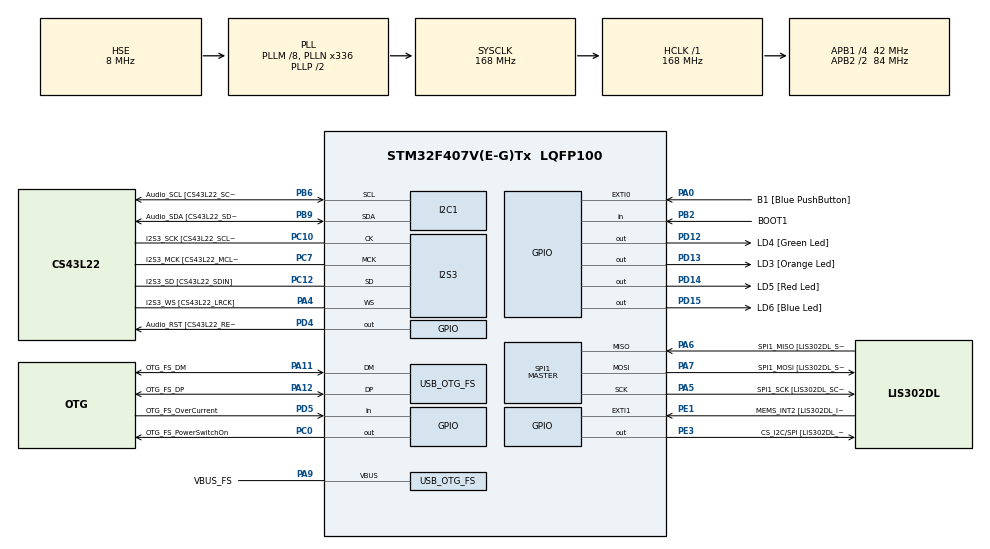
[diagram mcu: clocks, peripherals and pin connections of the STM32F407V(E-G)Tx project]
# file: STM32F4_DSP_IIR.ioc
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Dma.Request0=SPI3_TX
Dma.SPI3_TX.0.Direction=DMA_MEMORY_TO_PERIPH
Dma.SPI3_TX.0.FIFOMode=DMA_FIFOMODE_DISABLE
Dma.SPI3_TX.0.Instance=DMA1_Stream5
Dma.SPI3_TX.0.MemDataAlignment=DMA_MDATAALIGN_HALFWORD
Dma.SPI3_TX.0.MemInc=DMA_MINC_ENABLE
Dma.SPI3_TX.0.Mode=DMA_NORMAL
Dma.SPI3_TX.0.PeriphDataAlignment=DMA_PDATAALIGN_HALFWORD
Dma.SPI3_TX.0.PeriphInc=DMA_PINC_DISABLE
Dma.SPI3_TX.0.Priority=DMA_PRIORITY_HIGH
I2S3.AudioFreq-Half_Duplex_Master=I2S_AUDIOFREQ_96K
I2S3.ErrorAudioFreq=-2.34 %
I2S3.ErrorAudioFreq-Half_Duplex_Master=0.8 %
I2S3.FullDuplexMode=I2S_FULLDUPLEXMODE_DISABLE
I2S3.Instance=SPI$Index
I2S3.RealAudioFreq=93.75 KHz
I2S3.RealAudioFreq-Half_Duplex_Master=96.774 KHz
I2S3.VirtualMode=I2S_MODE_MASTER
Mcu.Family=STM32F4
Mcu.Name=STM32F407V(E-G)Tx
Mcu.Package=LQFP100
NVIC.DMA1_Stream5_IRQn=true\:0\:0\:false\:false\:true\:false\:true\:true
NVIC.OTG_FS_IRQn=true\:0\:0\:false\:false\:true\:true\:true\:true
NVIC.PriorityGroup=NVIC_PRIORITYGROUP_0
PA0-WKUP.GPIO_Label=B1 [Blue PushButton]
PA0-WKUP.GPIO_ModeDefaultEXTI=GPIO_MODE_EVT_RISING
PA0-WKUP.GPIO_PuPd=GPIO_NOPULL
PA0-WKUP.Signal=GPXTI0
PA10.GPIO_Label=OTG_FS_ID
PA10.GPIO_Mode=GPIO_MODE_AF_PP
PA10.GPIO_PuPd=GPIO_NOPULL
PA10.GPIO_Speed=GPIO_SPEED_FREQ_LOW
PA10.Signal=USB_OTG_FS_ID
PA11.GPIO_Label=OTG_FS_DM
PA11.GPIO_Mode=GPIO_MODE_AF_PP
PA11.GPIO_PuPd=GPIO_NOPULL
PA11.GPIO_Speed=GPIO_SPEED_FREQ_LOW
PA11.Mode=Host_Only
PA11.Signal=USB_OTG_FS_DM
PA12.GPIO_Label=OTG_FS_DP
PA12.GPIO_Mode=GPIO_MODE_AF_PP
PA12.GPIO_PuPd=GPIO_NOPULL
PA12.GPIO_Speed=GPIO_SPEED_FREQ_LOW
PA12.Mode=Host_Only
PA12.Signal=USB_OTG_FS_DP
PA13.GPIO_Label=SWDIO
PA13.Mode=Serial_Wire
PA13.Signal=SYS_JTMS-SWDIO
PA14.GPIO_Label=SWCLK
PA14.Mode=Serial_Wire
PA14.Signal=SYS_JTCK-SWCLK
PA4.GPIO_Label=I2S3_WS [CS43L22_LRCK]
PA4.GPIO_Mode=GPIO_MODE_AF_PP
PA4.GPIO_PuPd=GPIO_NOPULL
PA4.GPIO_Speed=GPIO_SPEED_FREQ_LOW
PA4.Mode=Half_Duplex_Master
PA4.Signal=I2S3_WS
PA5.GPIO_Label=SPI1_SCK [LIS302DL_SCL/SPC]
PA5.GPIO_Mode=GPIO_MODE_AF_PP
PA5.GPIO_PuPd=GPIO_NOPULL
PA5.GPIO_Speed=GPIO_SPEED_FREQ_LOW
PA5.Mode=Full_Duplex_Master
PA5.Signal=SPI1_SCK
PA6.GPIO_Label=SPI1_MISO [LIS302DL_SDO]
PA6.GPIO_Mode=GPIO_MODE_AF_PP
PA6.GPIO_PuPd=GPIO_NOPULL
PA6.GPIO_Speed=GPIO_SPEED_FREQ_LOW
PA6.Mode=Full_Duplex_Master
PA6.Signal=SPI1_MISO
PA7.GPIO_Label=SPI1_MOSI [LIS302DL_SDA/SDI/SDO]
PA7.GPIO_Mode=GPIO_MODE_AF_PP
PA7.GPIO_PuPd=GPIO_NOPULL
PA7.GPIO_Speed=GPIO_SPEED_FREQ_LOW
PA7.Mode=Full_Duplex_Master
PA7.Signal=SPI1_MOSI
PA9.GPIO_Label=VBUS_FS
PA9.GPIO_Mode=GPIO_MODE_INPUT
PA9.GPIO_PuPd=GPIO_NOPULL
PA9.Mode=Activate_VBUS
PA9.Signal=USB_OTG_FS_VBUS
PB10.GPIO_Label=CLK_IN [MP45DT02_CLK]
PB10.GPIO_Mode=GPIO_MODE_AF_PP
PB10.GPIO_PuPd=GPIO_NOPULL
PB10.GPIO_Speed=GPIO_SPEED_FREQ_LOW
PB10.Signal=I2S2_CK
PB2.GPIO_Label=BOOT1
PB2.GPIO_Mode=GPIO_MODE_INPUT
PB2.GPIO_PuPd=GPIO_NOPULL
PB2.Signal=GPIO_Input
PB3.GPIO_Label=SWO
PB3.Signal=SYS_JTDO-SWO
PB6.GPIO_Label=Audio_SCL [CS43L22_SCL]
PB6.GPIO_Mode=GPIO_MODE_AF_OD
PB6.GPIO_Pu=GPIO_PULLUP
PB6.GPIO_PuPd=GPIO_NOPULL
PB6.GPIO_Speed=GPIO_SPEED_FREQ_LOW
PB6.Mode=I2C
PB6.Signal=I2C1_SCL
PB9.GPIO_Label=Audio_SDA [CS43L22_SDA]
PB9.GPIO_Mode=GPIO_MODE_AF_OD
PB9.GPIO_Pu=GPIO_PULLUP
PB9.GPIO_PuPd=GPIO_NOPULL
PB9.GPIO_Speed=GPIO_SPEED_FREQ_LOW
PB9.Mode=I2C
PB9.Signal=I2C1_SDA
PC0.GPIO_Label=OTG_FS_PowerSwitchOn
PC0.GPIO_PuPd=GPIO_NOPULL
PC0.GPIO_Speed=GPIO_SPEED_FREQ_LOW
PC0.PinState=GPIO_PIN_SET
PC0.Signal=GPIO_Output
PC10.GPIO_Label=I2S3_SCK [CS43L22_SCLK]
PC10.GPIO_Mode=GPIO_MODE_AF_PP
PC10.GPIO_PuPd=GPIO_NOPULL
PC10.GPIO_Speed=GPIO_SPEED_FREQ_LOW
PC10.Mode=Half_Duplex_Master
PC10.Signal=I2S3_CK
PC12.GPIO_Label=I2S3_SD [CS43L22_SDIN]
PC12.GPIO_Mode=GPIO_MODE_AF_PP
PC12.GPIO_PuPd=GPIO_NOPULL
PC12.GPIO_Speed=GPIO_SPEED_FREQ_LOW
PC12.Mode=Half_Duplex_Master
PC12.Signal=I2S3_SD
PC14-OSC32_IN.GPIO_Label=PC14-OSC32_IN
PC14-OSC32_IN.Mode=LSE-External-Oscillator
PC14-OSC32_IN.Signal=RCC_OSC32_IN
PC15-OSC32_OUT.GPIO_Label=PC15-OSC32_OUT
PC15-OSC32_OUT.Mode=LSE-External-Oscillator
PC15-OSC32_OUT.Signal=RCC_OSC32_OUT
PC3.GPIO_Label=PDM_OUT [MP45DT02_DOUT]
PC3.GPIO_Mode=GPIO_MODE_AF_PP
PC3.GPIO_PuPd=GPIO_NOPULL
PC3.GPIO_Speed=GPIO_SPEED_FREQ_LOW
PC3.Signal=I2S2_SD
PC7.GPIO_Label=I2S3_MCK [CS43L22_MCLK]
PC7.GPIO_Mode=GPIO_MODE_AF_PP
PC7.GPIO_PuPd=GPIO_NOPULL
PC7.GPIO_Speed=GPIO_SPEED_FREQ_LOW
PC7.Mode=Master_Clock_Activated
PC7.Signal=I2S3_MCK
PD12.GPIO_Label=LD4 [Green Led]
PD12.GPIO_PuPd=GPIO_NOPULL
PD12.GPIO_Speed=GPIO_SPEED_FREQ_LOW
PD12.Signal=GPIO_Output
PD13.GPIO_Label=LD3 [Orange Led]
PD13.GPIO_PuPd=GPIO_NOPULL
PD13.GPIO_Speed=GPIO_SPEED_FREQ_LOW
PD13.Signal=GPIO_Output
PD14.GPIO_Label=LD5 [Red Led]
PD14.GPIO_PuPd=GPIO_NOPULL
PD14.GPIO_Speed=GPIO_SPEED_FREQ_LOW
PD14.Signal=GPIO_Output
PD15.GPIO_Label=LD6 [Blue Led]
PD15.GPIO_PuPd=GPIO_NOPULL
PD15.GPIO_Speed=GPIO_SPEED_FREQ_LOW
PD15.Signal=GPIO_Output
PD4.GPIO_Label=Audio_RST [CS43L22_RESET]
PD4.GPIO_PuPd=GPIO_NOPULL
PD4.GPIO_Speed=GPIO_SPEED_FREQ_LOW
PD4.Signal=GPIO_Output
PD5.GPIO_Label=OTG_FS_OverCurrent
PD5.GPIO_Mode=GPIO_MODE_INPUT
PD5.GPIO_PuPd=GPIO_NOPULL
PD5.Signal=GPIO_Input
PE1.GPIO_Label=MEMS_INT2 [LIS302DL_INT2]
PE1.GPIO_ModeDefaultEXTI=GPIO_MODE_EVT_RISING
PE1.GPIO_PuPd=GPIO_NOPULL
PE1.Signal=GPXTI1
PE3.GPIO_Label=CS_I2C/SPI [LIS302DL_CS_I2C/SPI]
PE3.GPIO_PuPd=GPIO_NOPULL
PE3.GPIO_Speed=GPIO_SPEED_FREQ_LOW
PE3.Signal=GPIO_Output
PH0-OSC_IN.GPIO_Label=PH0-OSC_IN
PH0-OSC_IN.Mode=HSE-External-Oscillator
PH0-OSC_IN.Signal=RCC_OSC_IN
PH1-OSC_OUT.GPIO_Label=PH1-OSC_OUT
PH1-OSC_OUT.Mode=HSE-External-Oscillator
PH1-OSC_OUT.Signal=RCC_OSC_OUT
ProjectManager.HeapSize=0x200
ProjectManager.StackSize=0x400
ProjectManager.TargetToolchain=STM32CubeIDE
RCC.48MHZClocksFreq_Value=48000000
RCC.AHBFreq_Value=168000000
RCC.APB1CLKDivider=RCC_HCLK_DIV4
RCC.APB1Freq_Value=42000000
RCC.APB1TimFreq_Value=84000000
RCC.APB2CLKDivider=RCC_HCLK_DIV2
RCC.APB2Freq_Value=84000000
RCC.APB2TimFreq_Value=168000000
RCC.CortexFreq_Value=168000000
RCC.HCLKFreq_Value=168000000
RCC.HSE_VALUE=8000000
RCC.HSI_VALUE=16000000
RCC.PLLM=8
RCC.PLLN=336
RCC.PLLQ=7
RCC.SYSCLKFreq_VALUE=168000000
RCC.SYSCLKSource=RCC_SYSCLKSOURCE_PLLCLK
RCC.VCOOutputFreq_Value=336000000
SPI1.BaudRatePrescaler-Full_Duplex_Master=SPI_BAUDRATEPRESCALER_2
SPI1.CalculateBaudRate-Full_Duplex_Master=42.0 MBits/s
SPI1.Direction=SPI_DIRECTION_2LINES
SPI1.Mode=SPI_MODE_MASTER
SPI1.Mode-Full_Duplex_Master=SPI_MODE_MASTER
SPI1.VirtualType=VM_MASTER
USB_HOST.BSP.number=1
USB_HOST.USBH_HandleTypeDef-CDC_FS=hUsbHostFS
USB_HOST.VirtualModeFS=Cdc
USB_HOST0.BSP.STBoard=false
USB_HOST0.BSP.api=Unknown
USB_HOST0.BSP.instance=PC0
USB_HOST0.BSP.ip=GPIO
USB_HOST0.BSP.mode=Output
USB_HOST0.BSP.name=Drive_VBUS_FS
USB_HOST0.BSP.solution=PC0
USB_OTG_FS.VirtualMode=Host_Only
USB_OTG_FS.phy_itface=HCD_PHY_EMBEDDED
VP_USB_HOST_VS_USB_HOST_CDC_FS.Mode=CDC_FS
board=STM32F407G-DISC1

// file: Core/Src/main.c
/* USER CODE BEGIN Header */
/**
  ******************************************************************************
  * @file           : main.c
  * @brief          : Main program body
  ******************************************************************************
  * @attention
  *
  * Copyright (c) 2025 STMicroelectronics.
  * All rights reserved.
  *
  * This software is licensed under terms that can be found in the LICENSE file
  * in the root directory of this software component.
  * If no LICENSE file comes with this software, it is provided AS-IS.
  *
  ******************************************************************************
  */
/* USER CODE END Header */
#include "main.h"
#include "usb_host.h"

/* USER CODE BEGIN Includes */
#include "arm_math.h"
#include "stm32f4_discovery_audio.h"

/* USER CODE END Includes */

/* USER CODE BEGIN PTD */
#define SAMPLING_FREQ 8000.0	//BSP_audio_out sampling frequency

#define TEST_LENGTH_SAMPLES	256
#define BLOCKSIZE 	32
#define NUMBLOCKS  	(TEST_LENGTH_SAMPLES/BLOCKSIZE)

#define NUM_SECTIONS	2		//Filtro kaskadu skaicius

/* USER CODE END PTD */

I2C_HandleTypeDef hi2c1;

I2S_HandleTypeDef hi2s3;
DMA_HandleTypeDef hdma_spi3_tx;

SPI_HandleTypeDef hspi1;

/* USER CODE BEGIN PV */
static int16_t OutputBuffer[TEST_LENGTH_SAMPLES*2];	//Output, left+right channels
//static int16_t random_temp;

	//IIR related PV
static float32_t testInput_f32[TEST_LENGTH_SAMPLES];	//IIR input signal buffer
static float32_t testOutput_f32[TEST_LENGTH_SAMPLES];	//IIR output signal buffer
float32_t *inputF32 = &testInput_f32[0];
float32_t *outputF32 = &testOutput_f32[0];

float32_t coeffs[5*NUM_SECTIONS] = {0};
float32_t state[4*NUM_SECTIONS] = {0};

	//IIR filter coeffs - from MATLAB
float b[NUM_SECTIONS][3] = {
{1.27854304E-01, 2.55708609E-01, 1.27854304E-01},
{3.04659786E-02, 6.09319571E-02, 3.04659786E-02} };

float a[NUM_SECTIONS][3] = {
{1.00000000E+00, -1.34913555E+00, 8.60552772E-01},
{1.00000000E+00, -1.54190232E+00, 6.63766234E-01} };

/* USER CODE END PV */

void SystemClock_Config(void);
static void MX_GPIO_Init(void);
static void MX_DMA_Init(void);
static void MX_I2C1_Init(void);
static void MX_I2S3_Init(void);
static void MX_SPI1_Init(void);
void MX_USB_HOST_Process(void);

/* USER CODE BEGIN 0 */

	//White noise generator for noise testing
	int32_t rand_int(void)
	{
		static int32_t a = 100001;
		a = (a*125) % 2796203;
		return a;
	}

/* USER CODE END 0 */

int main(void)
{

  /* USER CODE BEGIN 1 */
	//--- IIR structure ---
		arm_biquad_casd_df1_inst_f32 S;

		//--- write IIR coeffs to the CMSIS compatible array
		uint16_t i,k=0;
		for (i=0; i<NUM_SECTIONS ; i++)
		{
			coeffs[k++] = b[i][0];
			coeffs[k++] = b[i][1];
			coeffs[k++] = b[i][2];
			coeffs[k++] = -a[i][1];
			coeffs[k++] = -a[i][2];
		}

  /* USER CODE END 1 */

  /* MCU Configuration--------------------------------------------------------*/

  /* Reset of all peripherals, Initializes the Flash interface and the Systick. */
  HAL_Init();

  /* Configure the system clock */
  SystemClock_Config();

  /* Initialize all configured peripherals */
  MX_GPIO_Init();
  MX_DMA_Init();
  MX_I2C1_Init();
  MX_I2S3_Init();
  MX_SPI1_Init();
  MX_USB_HOST_Init();
  /* USER CODE BEGIN 2 */

  	  	//--- Call IIR init function
    	arm_biquad_cascade_df1_init_f32(&S, NUM_SECTIONS, &(coeffs[0]), &(state[0]));

    	/*** Initialize the Audio codec (I2S, I2C, IOExpander, IOs...) ***/
    	if(BSP_AUDIO_OUT_Init(OUTPUT_DEVICE_AUTO, 80, SAMPLING_FREQ) != AUDIO_OK)
    	{
    	   	Error_Handler();
    	}

    	/*** Test Signal generation ***/
    	for(int index = 0; index < TEST_LENGTH_SAMPLES; index++)
    	{
    	   	//Test signal 1000 Hz + 3000 Hz
    	   	testInput_f32[index] = ( 30000*sin(32*2*PI*index/TEST_LENGTH_SAMPLES) + 15000*sin(96*2*PI*index/TEST_LENGTH_SAMPLES));
    	}

    	/*** Perform IIR filtering operation ***/
    	for (k=0; k < NUMBLOCKS; k++)
    	{
    		arm_biquad_cascade_df1_f32 (&S, inputF32 + (k*BLOCKSIZE), outputF32 + (k*BLOCKSIZE), BLOCKSIZE);
    	}

    	/*** Fill Output Buffer ***/
    	for(int i = 0; i < TEST_LENGTH_SAMPLES; i++)
    	{
    		OutputBuffer[i<<1] = (int16_t)testInput_f32[i];
    	    OutputBuffer[(i<<1)+1] = (int16_t)testOutput_f32[i];
    	}

    	/*** Start Audio play ***/
    	BSP_AUDIO_OUT_Play((uint16_t*)&OutputBuffer[0], TEST_LENGTH_SAMPLES*2);

  /* USER CODE END 2 */

  /* Infinite loop */
  /* USER CODE BEGIN WHILE */
  while (1)
  {
	  HAL_GPIO_TogglePin(LD4_GPIO_Port, LD4_Pin);
 	  HAL_Delay(250);

    /* USER CODE END WHILE */
    MX_USB_HOST_Process();

  }
}

void SystemClock_Config(void)
{
  RCC_OscInitTypeDef RCC_OscInitStruct = {0};
  RCC_ClkInitTypeDef RCC_ClkInitStruct = {0};

  /** Configure the main internal regulator output voltage
  */
  __HAL_RCC_PWR_CLK_ENABLE();
  __HAL_PWR_VOLTAGESCALING_CONFIG(PWR_REGULATOR_VOLTAGE_SCALE1);

  /** Initializes the RCC Oscillators according to the specified parameters
  * in the RCC_OscInitTypeDef structure.
  */
  RCC_OscInitStruct.OscillatorType = RCC_OSCILLATORTYPE_HSE;
  RCC_OscInitStruct.HSEState = RCC_HSE_ON;
  RCC_OscInitStruct.PLL.PLLState = RCC_PLL_ON;
  RCC_OscInitStruct.PLL.PLLSource = RCC_PLLSOURCE_HSE;
  RCC_OscInitStruct.PLL.PLLM = 8;
  RCC_OscInitStruct.PLL.PLLN = 336;
  RCC_OscInitStruct.PLL.PLLP = RCC_PLLP_DIV2;
  RCC_OscInitStruct.PLL.PLLQ = 7;
  if (HAL_RCC_OscConfig(&RCC_OscInitStruct) != HAL_OK)
  {
    Error_Handler();
  }

  /** Initializes the CPU, AHB and APB buses clocks
  */
  RCC_ClkInitStruct.ClockType = RCC_CLOCKTYPE_HCLK|RCC_CLOCKTYPE_SYSCLK
                              |RCC_CLOCKTYPE_PCLK1|RCC_CLOCKTYPE_PCLK2;
  RCC_ClkInitStruct.SYSCLKSource = RCC_SYSCLKSOURCE_PLLCLK;
  RCC_ClkInitStruct.AHBCLKDivider = RCC_SYSCLK_DIV1;
  RCC_ClkInitStruct.APB1CLKDivider = RCC_HCLK_DIV4;
  RCC_ClkInitStruct.APB2CLKDivider = RCC_HCLK_DIV2;

  if (HAL_RCC_ClockConfig(&RCC_ClkInitStruct, FLASH_LATENCY_5) != HAL_OK)
  {
    Error_Handler();
  }
}

static void MX_I2C1_Init(void)
{

  hi2c1.Instance = I2C1;
  hi2c1.Init.ClockSpeed = 100000;
  hi2c1.Init.DutyCycle = I2C_DUTYCYCLE_2;
  hi2c1.Init.OwnAddress1 = 0;
  hi2c1.Init.AddressingMode = I2C_ADDRESSINGMODE_7BIT;
  hi2c1.Init.DualAddressMode = I2C_DUALADDRESS_DISABLE;
  hi2c1.Init.OwnAddress2 = 0;
  hi2c1.Init.GeneralCallMode = I2C_GENERALCALL_DISABLE;
  hi2c1.Init.NoStretchMode = I2C_NOSTRETCH_DISABLE;
  if (HAL_I2C_Init(&hi2c1) != HAL_OK)
  {
    Error_Handler();
  }

}

static void MX_I2S3_Init(void)
{

  hi2s3.Instance = SPI3;
  hi2s3.Init.Mode = I2S_MODE_MASTER_TX;
  hi2s3.Init.Standard = I2S_STANDARD_PHILIPS;
  hi2s3.Init.DataFormat = I2S_DATAFORMAT_16B;
  hi2s3.Init.MCLKOutput = I2S_MCLKOUTPUT_ENABLE;
  hi2s3.Init.AudioFreq = I2S_AUDIOFREQ_96K;
  hi2s3.Init.CPOL = I2S_CPOL_LOW;
  hi2s3.Init.ClockSource = I2S_CLOCK_PLL;
  hi2s3.Init.FullDuplexMode = I2S_FULLDUPLEXMODE_DISABLE;
  if (HAL_I2S_Init(&hi2s3) != HAL_OK)
  {
    Error_Handler();
  }

}

static void MX_SPI1_Init(void)
{

  /* SPI1 parameter configuration*/
  hspi1.Instance = SPI1;
  hspi1.Init.Mode = SPI_MODE_MASTER;
  hspi1.Init.Direction = SPI_DIRECTION_2LINES;
  hspi1.Init.DataSize = SPI_DATASIZE_8BIT;
  hspi1.Init.CLKPolarity = SPI_POLARITY_LOW;
  hspi1.Init.CLKPhase = SPI_PHASE_1EDGE;
  hspi1.Init.NSS = SPI_NSS_SOFT;
  hspi1.Init.BaudRatePrescaler = SPI_BAUDRATEPRESCALER_2;
  hspi1.Init.FirstBit = SPI_FIRSTBIT_MSB;
  hspi1.Init.TIMode = SPI_TIMODE_DISABLE;
  hspi1.Init.CRCCalculation = SPI_CRCCALCULATION_DISABLE;
  hspi1.Init.CRCPolynomial = 10;
  if (HAL_SPI_Init(&hspi1) != HAL_OK)
  {
    Error_Handler();
  }

}

static void MX_DMA_Init(void)
{

  /* DMA controller clock enable */
  __HAL_RCC_DMA1_CLK_ENABLE();

  /* DMA interrupt init */
  /* DMA1_Stream5_IRQn interrupt configuration */
  HAL_NVIC_SetPriority(DMA1_Stream5_IRQn, 0, 0);
  HAL_NVIC_EnableIRQ(DMA1_Stream5_IRQn);

}

static void MX_GPIO_Init(void)
{
  GPIO_InitTypeDef GPIO_InitStruct = {0};

  /* GPIO Ports Clock Enable */
  __HAL_RCC_GPIOE_CLK_ENABLE();
  __HAL_RCC_GPIOC_CLK_ENABLE();
  __HAL_RCC_GPIOH_CLK_ENABLE();
  __HAL_RCC_GPIOA_CLK_ENABLE();
  __HAL_RCC_GPIOB_CLK_ENABLE();
  __HAL_RCC_GPIOD_CLK_ENABLE();

  /*Configure GPIO pin Output Level */
  HAL_GPIO_WritePin(CS_I2C_SPI_GPIO_Port, CS_I2C_SPI_Pin, GPIO_PIN_RESET);

  /*Configure GPIO pin Output Level */
  HAL_GPIO_WritePin(OTG_FS_PowerSwitchOn_GPIO_Port, OTG_FS_PowerSwitchOn_Pin, GPIO_PIN_SET);

  /*Configure GPIO pin Output Level */
  HAL_GPIO_WritePin(GPIOD, LD4_Pin|LD3_Pin|LD5_Pin|LD6_Pin
                          |Audio_RST_Pin, GPIO_PIN_RESET);

  /*Configure GPIO pin : CS_I2C_SPI_Pin */
  GPIO_InitStruct.Pin = CS_I2C_SPI_Pin;
  GPIO_InitStruct.Mode = GPIO_MODE_OUTPUT_PP;
  GPIO_InitStruct.Pull = GPIO_NOPULL;
  GPIO_InitStruct.Speed = GPIO_SPEED_FREQ_LOW;
  HAL_GPIO_Init(CS_I2C_SPI_GPIO_Port, &GPIO_InitStruct);

  /*Configure GPIO pin : OTG_FS_PowerSwitchOn_Pin */
  GPIO_InitStruct.Pin = OTG_FS_PowerSwitchOn_Pin;
  GPIO_InitStruct.Mode = GPIO_MODE_OUTPUT_PP;
  GPIO_InitStruct.Pull = GPIO_NOPULL;
  GPIO_InitStruct.Speed = GPIO_SPEED_FREQ_LOW;
  HAL_GPIO_Init(OTG_FS_PowerSwitchOn_GPIO_Port, &GPIO_InitStruct);

  /*Configure GPIO pin : PDM_OUT_Pin */
  GPIO_InitStruct.Pin = PDM_OUT_Pin;
  GPIO_InitStruct.Mode = GPIO_MODE_AF_PP;
  GPIO_InitStruct.Pull = GPIO_NOPULL;
  GPIO_InitStruct.Speed = GPIO_SPEED_FREQ_LOW;
  GPIO_InitStruct.Alternate = GPIO_AF5_SPI2;
  HAL_GPIO_Init(PDM_OUT_GPIO_Port, &GPIO_InitStruct);

  /*Configure GPIO pin : B1_Pin */
  GPIO_InitStruct.Pin = B1_Pin;
  GPIO_InitStruct.Mode = GPIO_MODE_EVT_RISING;
  GPIO_InitStruct.Pull = GPIO_NOPULL;
  HAL_GPIO_Init(B1_GPIO_Port, &GPIO_InitStruct);

  /*Configure GPIO pin : BOOT1_Pin */
  GPIO_InitStruct.Pin = BOOT1_Pin;
  GPIO_InitStruct.Mode = GPIO_MODE_INPUT;
  GPIO_InitStruct.Pull = GPIO_NOPULL;
  HAL_GPIO_Init(BOOT1_GPIO_Port, &GPIO_InitStruct);

  /*Configure GPIO pin : CLK_IN_Pin */
  GPIO_InitStruct.Pin = CLK_IN_Pin;
  GPIO_InitStruct.Mode = GPIO_MODE_AF_PP;
  GPIO_InitStruct.Pull = GPIO_NOPULL;
  GPIO_InitStruct.Speed = GPIO_SPEED_FREQ_LOW;
  GPIO_InitStruct.Alternate = GPIO_AF5_SPI2;
  HAL_GPIO_Init(CLK_IN_GPIO_Port, &GPIO_InitStruct);

  /*Configure GPIO pins : LD4_Pin LD3_Pin LD5_Pin LD6_Pin
                           Audio_RST_Pin */
  GPIO_InitStruct.Pin = LD4_Pin|LD3_Pin|LD5_Pin|LD6_Pin
                          |Audio_RST_Pin;
  GPIO_InitStruct.Mode = GPIO_MODE_OUTPUT_PP;
  GPIO_InitStruct.Pull = GPIO_NOPULL;
  GPIO_InitStruct.Speed = GPIO_SPEED_FREQ_LOW;
  HAL_GPIO_Init(GPIOD, &GPIO_InitStruct);

  /*Configure GPIO pin : OTG_FS_OverCurrent_Pin */
  GPIO_InitStruct.Pin = OTG_FS_OverCurrent_Pin;
  GPIO_InitStruct.Mode = GPIO_MODE_INPUT;
  GPIO_InitStruct.Pull = GPIO_NOPULL;
  HAL_GPIO_Init(OTG_FS_OverCurrent_GPIO_Port, &GPIO_InitStruct);

  /*Configure GPIO pin : MEMS_INT2_Pin */
  GPIO_InitStruct.Pin = MEMS_INT2_Pin;
  GPIO_InitStruct.Mode = GPIO_MODE_EVT_RISING;
  GPIO_InitStruct.Pull = GPIO_NOPULL;
  HAL_GPIO_Init(MEMS_INT2_GPIO_Port, &GPIO_InitStruct);

}

/* USER CODE BEGIN 4 */

	/*** Back to Buffer beginning ***/
	void BSP_AUDIO_OUT_TransferComplete_CallBack(void)
	{
		BSP_AUDIO_OUT_ChangeBuffer((uint16_t*)&OutputBuffer[0], TEST_LENGTH_SAMPLES*2);
		HAL_GPIO_TogglePin(LD3_GPIO_Port, LD3_Pin);
	}

/* USER CODE END 4 */

void Error_Handler(void)
{
  __disable_irq();
  while (1)
  {
  }
}
